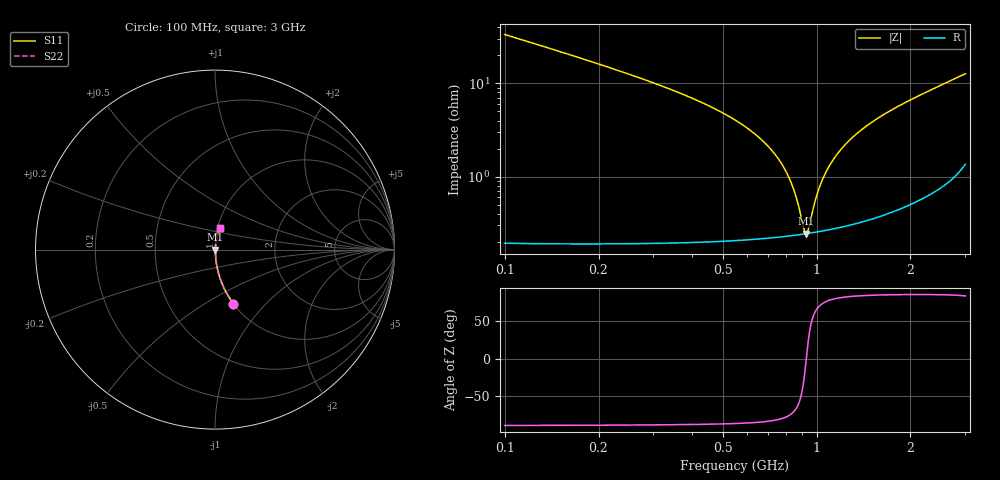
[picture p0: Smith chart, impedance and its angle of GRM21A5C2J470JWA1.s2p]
!Murata Part Number: GRM21A5C2J470JWA1
!These Parameters are Measured in Series Mode Connection
!Data Generated on Mar 30, 2021
!  o--ll--o
!Port1  Port2
!  o------o
!Operation Temp=25[degC], DC Bias Voltage=0[V]
!Freq. Start=100[MHz] Stop=3[GHz] 401[Steps]
# Hz S RI R 50
!Freq.(Hz) S11(Real) S11(Imag) S21(Real) S21(Imag) S12(Real) S12(Imag) S22(Real) S22(Imag)
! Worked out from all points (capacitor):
!   401 points, 100 MHz to 3 GHz, reference 50 ohm
!   read as one part in series: C = 46.9 pF near 114.5 MHz
!   lowest |Z| = 244 mohm at 926.5 MHz (marker M1)
!   series resonance near 927 MHz, so ESL is about 630 pH
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1e8  0.1025 -0.3004  0.8975 0.3004  0.8975 0.3004  0.1025 -0.3004
1.7975e8  0.0337 -0.1753  0.9663 0.1753  0.9663 0.1753  0.0337 -0.1753
2.595e8  0.0162 -0.1185  0.9838 0.1185  0.9838 0.1185  0.0162 -0.1185
5.8575e8  0.0033 -0.0348  0.9967 0.0348  0.9967 0.0348  0.0033 -0.0348
7.0175e8  0.00261 -0.0207  0.9974 0.0207  0.9974 0.0207  0.00261 -0.0207
7.8875e8  0.00241 -0.0119  0.9976 0.0119  0.9976 0.0119  0.00241 -0.0119
8.395e8  0.00238 -0.00732  0.9976 0.00732  0.9976 0.00732  0.00238 -0.00732
8.685e8  0.00239 -0.00481  0.9976 0.00481  0.9976 0.00481  0.00239 -0.00481
9.0475e8  0.00241 -0.0018  0.9976 0.0018  0.9976 0.0018  0.00241 -0.0018
9.1925e8  0.00243 -0.000623  0.9976 0.000623  0.9976 0.000623  0.00243 -0.000623
9.265e8  0.00244 -4.27e-05  0.9976 4.27e-05  0.9976 4.27e-05  0.00244 -4.27e-05
9.41e8  0.00246 0.00111  0.9975 -0.00111  0.9975 -0.00111  0.00246 0.00111
9.845e8  0.00254 0.00445  0.9975 -0.00445  0.9975 -0.00445  0.00254 0.00445
1.0135e9  0.0026 0.00661  0.9974 -0.00661  0.9974 -0.00661  0.0026 0.00661
1.0715e9  0.00276 0.0108  0.9972 -0.0108  0.9972 -0.0108  0.00276 0.0108
1.15125e9  0.00304 0.0162  0.997 -0.0162  0.997 -0.0162  0.00304 0.0162
1.25275e9  0.00348 0.0228  0.9965 -0.0228  0.9965 -0.0228  0.00348 0.0228
1.38325e9  0.00417 0.0308  0.9958 -0.0308  0.9958 -0.0308  0.00417 0.0308
1.55e9  0.00525 0.0406  0.9947 -0.0406  0.9947 -0.0406  0.00525 0.0406
2.03575e9  0.00972 0.0674  0.9903 -0.0674  0.9903 -0.0674  0.00972 0.0674
2.5215e9  0.0167 0.0942  0.9833 -0.0942  0.9833 -0.0942  0.0167 0.0942
3e9  0.0285 0.1211  0.9715 -0.1211  0.9715 -0.1211  0.0285 0.1211
